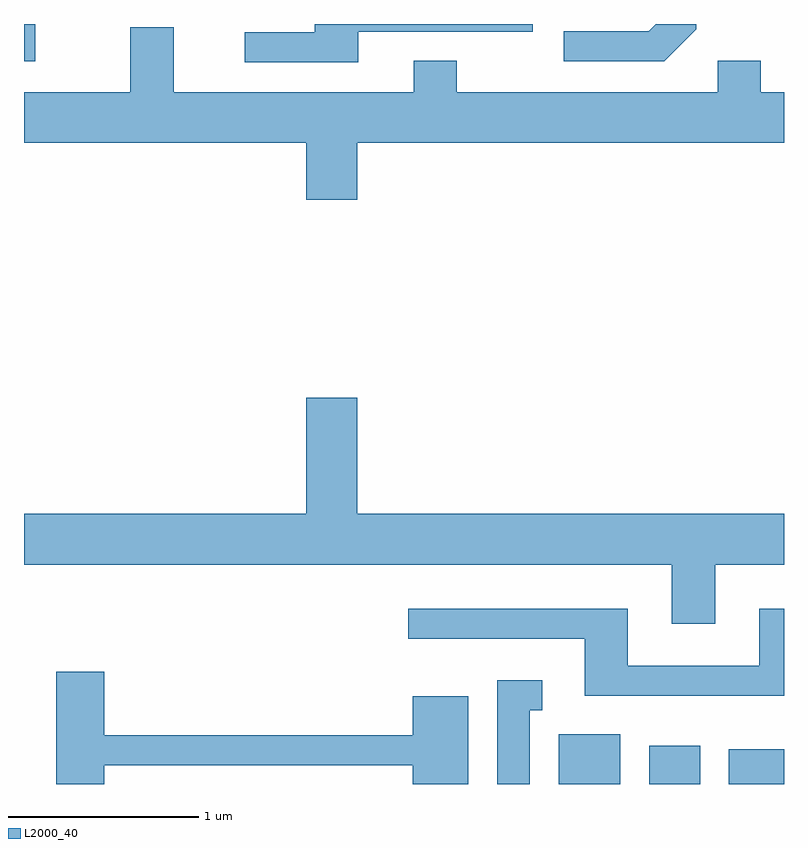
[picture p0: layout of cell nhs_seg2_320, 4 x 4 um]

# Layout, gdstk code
import gdstk
lib = gdstk.Library(unit=1e-6, precision=1e-09)
def R(c, l, rs):  # rectangles x0, y0, x1, y1
    for r in rs: c.add(gdstk.rectangle(r[:2], r[2:], *l))
def P(c, l, *ps):  # polygons
    for p in ps: c.add(gdstk.Polygon(p, *l))
L2000_40 = (2000, 40)

nhs_seg2_320 = lib.new_cell('nhs_seg2_320')
R(nhs_seg2_320, L2000_40, [(196.426,1073.802,196.749,1074.064), (196.901,1073.802,197.169,1074.004), (197.321,1073.802,197.611,1073.984), (193.611,1077.606,193.669,1077.802)])
P(nhs_seg2_320, L2000_40, [(195.369,1077.761),(196.289,1077.761),(196.289,1077.802),(195.141,1077.802),(195.141,1077.759),(194.773,1077.759),(194.773,1077.601),(195.369,1077.601)],
  [(197.149,1077.774),(197.149,1077.802),(196.937,1077.802),(196.899,1077.764),(196.453,1077.764),(196.453,1077.606),(196.982,1077.606)],
  [(195.364,1077.176),(197.611,1077.176),(197.611,1077.444),(197.489,1077.444),(197.489,1077.609),(197.261,1077.609),(197.261,1077.444),(195.889,1077.444),(195.889,1077.609),(195.661,1077.609),(195.661,1077.444),(194.399,1077.444),(194.399,1077.784),(194.171,1077.784),(194.171,1077.444),(193.611,1077.444),(193.611,1077.176),(195.096,1077.176),(195.096,1076.876),(195.364,1076.876)],
  [(197.249,1074.956),(197.611,1074.956),(197.611,1075.224),(195.364,1075.224),(195.364,1075.834),(195.096,1075.834),(195.096,1075.224),(193.611,1075.224),(193.611,1074.956),(197.021,1074.956),(197.021,1074.646),(197.249,1074.646)],
  [(197.611,1074.724),(197.481,1074.724),(197.481,1074.424),(196.789,1074.424),(196.789,1074.724),(195.633,1074.724),(195.633,1074.566),(196.561,1074.566),(196.561,1074.266),(197.611,1074.266)],
  [(194.034,1073.901),(195.656,1073.901),(195.656,1073.802),(195.949,1073.802),(195.949,1074.264),(195.656,1074.264),(195.656,1074.059),(194.034,1074.059),(194.034,1074.394),(193.781,1074.394),(193.781,1073.802),(194.034,1073.802)],
  [(196.274,1074.191),(196.338,1074.191),(196.338,1074.349),(196.101,1074.349),(196.101,1073.802),(196.274,1073.802)])

lib.write_gds('nhs_seg2_320.gds')
